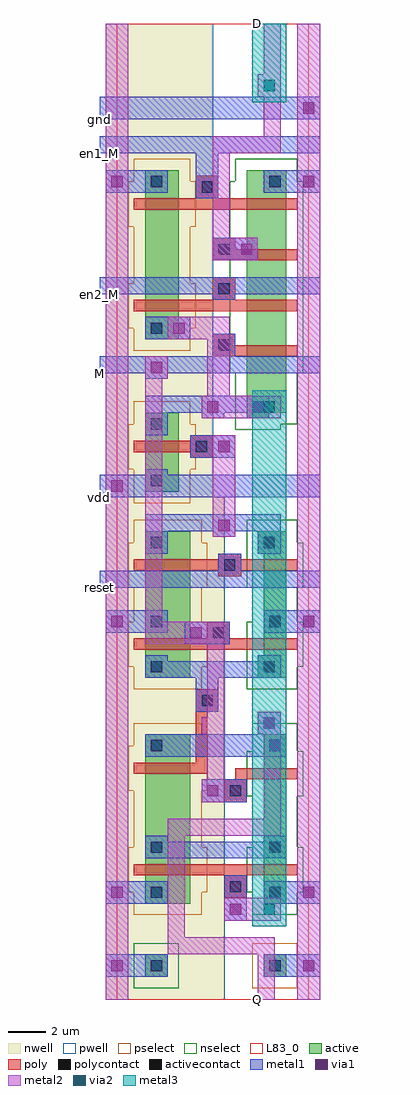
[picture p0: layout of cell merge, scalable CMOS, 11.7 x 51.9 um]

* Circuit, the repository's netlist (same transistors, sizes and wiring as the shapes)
.SUBCKT merge D Q en1_M en2_M reset M vdd gnd
M1 net_1 en1_M gnd gnd n w=2.1u l=0.6u 
M2 net_2 D net_1 gnd n w=2.1u l=0.6u  
M3 net_3 en2_M net_2 gnd n w=2.1u l=0.6u  
M4 Q1 M net_3 gnd n w=2.1u l=0.6u  
M5 Q1 en2_M net_5 vdd p w=1.8u l=0.6u
M6 vdd en1_M net_5 vdd p w=1.8u l=0.6u    
M7 reset_bar reset vdd vdd p w=2.4u l=0.6u
M8 reset_bar reset gnd gnd n w=1.2u l=0.6u
M9 Q1 reset_bar vdd vdd p w=1.8u l=0.6u
M10 M_bar M vdd vdd p w=2.4u l=0.6u
M11 M_bar M gnd gnd n w=1.2u l=0.6u
M12 Q M_bar pre_Q vdd p w=2.4u l=0.6u
M13 Q M pre_Q gnd n w=1.2u l=0.6u
M14 pre_Q Q1 vdd vdd p m=1 w=2.4u l=0.6u
M15 pre_Q Q1 gnd gnd n m=1 w=1.2u l=0.6u
.ENDS merge

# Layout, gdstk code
import gdstk
lib = gdstk.Library(unit=1e-6, precision=1e-09)
def R(c, l, rs):  # rectangles x0, y0, x1, y1
    for r in rs: c.add(gdstk.rectangle(r[:2], r[2:], *l))
pwell = (41, 0)
nwell = (42, 0)
active = (43, 0)
pselect = (44, 0)
nselect = (45, 0)
poly = (46, 0)
polycontact = (47, 0)
activecontact = (48, 0)
metal1 = (49, 0)
via1 = (50, 0)
metal2 = (51, 0)
via2 = (61, 0)
metal3 = (62, 0)
L83_0 = (83, 0)

merge = lib.new_cell('merge')
R(merge, pwell, [(5.7,0,10.8,26.7), (5.1,26.7,10.8,51.9)])
R(merge, nwell, [(-0.6,0,5.7,26.7), (-0.6,26.7,5.1,51.9)])
R(merge, active, [(1.5,1.2,2.7,2.4), (7.8,1.2,9,2.4), (1.5,5.1,3.9,14.1), (7.8,5.1,9,14.1), (1.5,17.1,3.9,24.9), (7.5,17.1,9,18.3), (7.8,18.3,9,23.7), (7.5,23.7,9,24.9), (1.5,27,3.3,31.2), (6.9,30.9,8.1,31.2), (6.9,31.2,9,44.1), (1.5,35.1,3.3,44.1)])
R(merge, pselect, [(7.2,0.6,9.6,3), (0.9,4.5,4.5,5.7), (0.6,5.7,4.8,8.1), (0.9,8.1,4.5,11.1), (0.6,11.1,4.8,13.5), (0.9,13.5,4.5,14.7), (0.9,16.5,4.5,17.7), (0.6,17.7,4.8,20.1), (0.9,20.1,4.5,21.9), (0.6,21.9,4.8,24.3), (0.9,24.3,4.5,25.5), (0.9,26.4,3.9,28.2), (0.6,28.2,4.2,30.6), (0.9,30.6,3.9,31.8), (0.9,34.5,3.9,35.7), (0.6,35.7,4.2,38.1), (0.9,38.1,3.9,41.1), (0.6,41.1,4.2,43.5), (0.9,43.5,3.9,44.7)])
R(merge, nselect, [(0.9,0.6,3.3,3), (7.2,4.5,9.6,5.7), (6.9,5.7,9.9,8.1), (7.2,8.1,9.6,10.8), (6.9,10.8,9.9,13.2), (7.2,13.2,9.6,14.7), (6.9,16.5,9.6,17.7), (6.9,17.7,9.9,20.1), (7.2,20.1,9.6,21.9), (6.9,21.9,9.9,24.3), (6.9,24.3,9.6,25.5), (6.3,30.3,8.7,30.6), (6.3,30.6,9.6,33.3), (6,33.3,9.9,43.5), (6.3,43.5,9.6,44.7)])
R(merge, poly, [(5.7,5.4,6.9,6.6), (0.9,6.6,9.6,7.2), (5.7,10.5,6.9,11.7), (6.3,11.7,9.6,12.3), (0.9,12,4.8,12.6), (4.2,12.6,4.8,15.3), (4.2,15.3,5.4,16.5), (0.9,18.6,9.6,19.2), (4.8,19.2,6,20.1), (5.4,22.5,6.6,22.8), (0.9,22.8,9.6,23.4), (5.4,23.4,6.6,23.7), (3.9,28.8,5.1,29.1), (0.9,29.1,5.1,29.7), (3.9,29.7,5.1,30), (5.1,34.2,9.6,34.8), (5.1,34.8,6.3,35.4), (0.9,36.6,9.6,37.2), (5.1,37.2,6.3,38.4), (5.1,39.3,9.6,39.9), (5.1,39.9,6.3,40.5), (0.9,42,9.6,42.6), (4.2,42.6,5.4,43.8)])
R(merge, polycontact, [(6,5.7,6.6,6.3), (6,10.8,6.6,11.4), (4.5,15.6,5.1,16.2), (5.1,19.2,5.7,19.8), (5.7,22.8,6.3,23.4), (4.2,29.1,4.8,29.7), (5.4,34.5,6,35.1), (5.4,37.5,6,38.1), (5.4,39.6,6,40.2), (4.5,42.9,5.1,43.5)])
R(merge, activecontact, [(1.8,1.5,2.4,2.1), (8.1,1.5,8.7,2.1), (1.8,5.4,2.4,6), (8.1,5.4,8.7,6), (1.8,7.8,2.4,8.4), (8.1,7.8,8.7,8.4), (1.8,13.2,2.4,13.8), (8.1,13.2,8.7,13.8), (1.8,17.4,2.4,18), (7.8,17.4,8.4,18), (1.8,19.8,2.4,20.4), (8.1,19.8,8.7,20.4), (1.8,24,2.4,24.6), (7.8,24,8.4,24.6), (1.8,27.3,2.4,27.9), (1.8,30.3,2.4,30.9), (7.2,31.2,7.8,31.8), (1.8,35.4,2.4,36), (1.8,43.2,2.4,43.8), (8.1,43.2,8.7,43.8)])
R(merge, metal1, [(-0.6,1.2,2.7,2.4), (7.8,1.2,10.8,2.4), (5.7,4.2,6.9,6.6), (-0.6,5.1,2.7,6.3), (7.8,5.1,10.8,6.3), (1.5,7.5,9,8.4), (1.5,8.4,2.7,8.7), (7.8,8.4,9,8.7), (4.5,10.5,6.9,11.7), (1.5,12.9,9,14.1), (7.5,14.1,8.7,15.3), (4.2,15.3,5.4,17.1), (1.5,17.1,8.7,18), (1.5,18,2.7,18.3), (7.5,18,8.7,18.3), (3.6,18.9,6,20.1), (-0.6,19.5,2.7,20.7), (7.8,19.5,10.8,20.7), (-0.9,21.9,10.8,22.8), (5.4,22.8,6.6,23.7), (1.5,23.7,2.7,24.9), (7.5,23.7,8.7,24.9), (5.1,24.6,6.3,24.9), (1.5,24.9,8.7,25.8), (-0.9,26.7,10.8,27.9), (1.5,27.9,2.7,28.2), (3.9,28.8,6.3,30), (1.5,30,2.7,31.2), (4.5,30.9,5.7,31.2), (6.9,30.9,8.1,31.2), (1.5,31.2,8.1,32.1), (1.5,33,2.7,33.3), (-0.9,33.3,10.8,34.2), (5.1,34.2,6.3,35.4), (1.5,35.1,3.9,36.3), (5.1,37.2,6.3,37.5), (-0.9,37.5,10.8,38.4), (5.1,39.3,7.5,40.5), (4.2,42.6,5.4,45), (-0.6,42.9,2.7,44.1), (7.8,42.9,10.8,44.1), (-0.9,45,10.8,45.9), (-0.9,46.8,10.8,48)])
R(merge, via1, [(-0.3,1.5,0.3,2.1), (9.9,1.5,10.5,2.1), (6,4.5,6.6,5.1), (-0.3,5.4,0.3,6), (9.9,5.4,10.5,6), (4.8,10.8,5.4,11.4), (7.8,14.4,8.4,15), (3.9,19.2,4.5,19.8), (-0.3,19.8,0.3,20.4), (9.9,19.8,10.5,20.4), (5.4,24.9,6,25.5), (-0.3,27,0.3,27.6), (5.4,29.1,6,29.7), (4.8,31.2,5.4,31.8), (1.8,33.3,2.4,33.9), (3,35.4,3.6,36), (6.6,39.6,7.2,40.2), (-0.3,43.2,0.3,43.8), (9.9,43.2,10.5,43.8), (9.9,47.1,10.5,47.7)])
R(merge, metal2, [(-0.6,0,0.6,51.9), (7.5,0,8.4,2.4), (9.6,0,10.8,51.9), (2.7,2.4,8.4,3.3), (2.7,3.3,3.6,8.7), (5.7,4.2,8.7,5.4), (2.7,8.7,8.7,9.6), (7.8,9.6,8.7,14.1), (4.5,10.5,5.7,11.7), (4.8,11.7,5.7,14.1), (4.5,14.1,5.7,15), (7.5,14.1,8.7,15.3), (4.8,15,5.7,18.9), (1.5,18.9,5.7,20.1), (1.5,20.1,2.4,33), (5.1,24.6,6.3,30), (4.5,30.9,8.7,32.1), (4.8,32.1,6,35.1), (1.5,33,2.7,34.2), (2.7,35.1,6,36.3), (5.1,39.3,7.5,40.5), (5.1,40.5,6,45), (5.1,45,8.7,45.9), (7.8,45.9,8.7,48), (7.5,48,8.7,49.2), (7.8,49.2,8.7,51.9)])
R(merge, via2, [(7.8,4.5,8.4,5.1), (7.8,31.2,8.4,31.8), (7.8,48.3,8.4,48.9)])
R(merge, metal3, [(7.2,3.9,9,32.4), (7.2,47.7,9,51.9)])
R(merge, L83_0, [(0,0,10.2,51.9)])
merge.add(gdstk.Label('reset', (-0.9,21.9), layer=49, texttype=0))
merge.add(gdstk.Label('M', (-0.9,33.3), layer=49, texttype=0))
merge.add(gdstk.Label('en2_M', (-0.9,37.5), layer=49, texttype=0))
merge.add(gdstk.Label('en1_M', (-0.9,45), layer=49, texttype=0))
merge.add(gdstk.Label('D', (7.5,51.9), layer=41, texttype=0))
merge.add(gdstk.Label('gnd', (-0.9,46.8), layer=49, texttype=0))
merge.add(gdstk.Label('vdd', (-0.9,26.7), layer=49, texttype=0))
merge.add(gdstk.Label('Q', (7.5,0), layer=51, texttype=0))

lib.write_gds('merge.gds')
